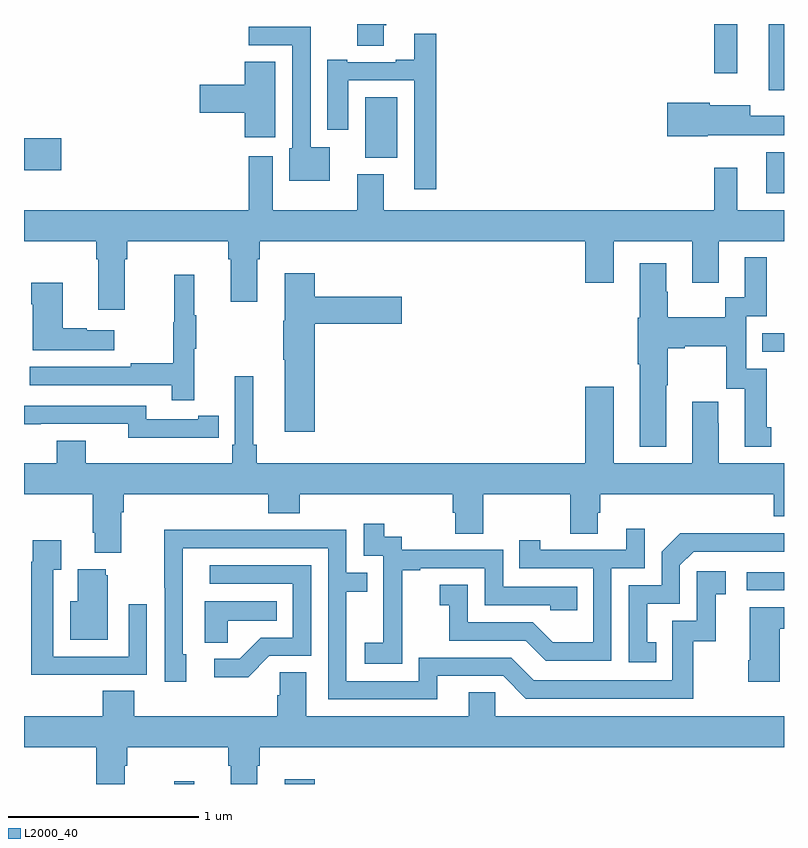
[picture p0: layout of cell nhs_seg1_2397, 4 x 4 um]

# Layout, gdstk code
import gdstk
lib = gdstk.Library(unit=1e-6, precision=1e-09)
def R(c, l, rs):  # rectangles x0, y0, x1, y1
    for r in rs: c.add(gdstk.rectangle(r[:2], r[2:], *l))
def P(c, l, *ps):  # polygons
    for p in ps: c.add(gdstk.Polygon(p, *l))
L2000_40 = (2000, 40)

nhs_seg1_2397 = lib.new_cell('nhs_seg1_2397')
R(nhs_seg1_2397, L2000_40, [(241.792,558.199,241.895,558.214), (242.372,558.199,242.531,558.223), (244.803,559.218,245,559.314), (244.885,560.475,245,560.571), (244.907,561.309,245,561.525), (241,561.429,241.195,561.599), (242.795,561.494,242.965,561.814), (244.919,561.851,245,562.199), (244.632,561.939,244.753,562.199)])
P(nhs_seg1_2397, L2000_40, [(242.893,562.192),(242.906,562.192),(242.906,562.199),(242.753,562.199),(242.753,562.084),(242.893,562.084)],
  [(242.608,561.55),(242.508,561.55),(242.508,562.184),(242.184,562.184),(242.184,562.086),(242.412,562.086),(242.412,561.546),(242.396,561.546),(242.396,561.374),(242.608,561.374)],
  [(243.17,562.147),(243.053,562.147),(243.053,562.012),(242.957,562.012),(242.957,561.999),(242.701,561.999),(242.701,562.012),(242.597,562.012),(242.597,561.642),(242.707,561.642),(242.707,561.903),(243.054,561.903),(243.054,561.33),(243.17,561.33)],
  [(242.323,562.001),(242.162,562.001),(242.162,561.878),(241.926,561.878),(241.926,561.731),(242.162,561.731),(242.162,561.603),(242.323,561.603)],
  [(244.598,561.614),(245,561.614),(245,561.715),(244.822,561.715),(244.822,561.772),(244.608,561.772),(244.608,561.785),(244.386,561.785),(244.386,561.607),(244.598,561.607)],
  [(241.531,560.96),(241.544,560.96),(241.544,561.056),(242.075,561.056),(242.075,560.96),(242.087,560.96),(242.087,560.736),(242.227,560.736),(242.227,560.96),(242.24,560.96),(242.24,561.056),(243.953,561.056),(243.953,560.838),(244.105,560.838),(244.105,561.056),(244.517,561.056),(244.517,560.838),(244.657,560.838),(244.657,561.056),(245,561.056),(245,561.22),(244.753,561.22),(244.753,561.442),(244.632,561.442),(244.632,561.22),(242.893,561.22),(242.893,561.409),(242.753,561.409),(242.753,561.22),(242.308,561.22),(242.308,561.502),(242.183,561.502),(242.183,561.22),(241,561.22),(241,561.056),(241.379,561.056),(241.379,560.96),(241.391,560.96),(241.391,560.694),(241.531,560.694)],
  [(244.381,560.299),(244.389,560.299),(244.389,560.492),(244.477,560.492),(244.477,560.504),(244.697,560.504),(244.697,560.28),(244.793,560.28),(244.793,559.974),(244.933,559.974),(244.933,560.076),(244.909,560.076),(244.909,560.385),(244.8,560.385),(244.8,560.661),(244.909,560.661),(244.909,560.971),(244.793,560.971),(244.793,560.762),(244.692,560.762),(244.692,560.656),(244.389,560.656),(244.389,560.79),(244.381,560.79),(244.381,560.941),(244.241,560.941),(244.241,560.652),(244.229,560.652),(244.229,560.408),(244.241,560.408),(244.241,559.973),(244.381,559.973)],
  [(242.531,560.621),(242.989,560.621),(242.989,560.763),(242.531,560.763),(242.531,560.887),(242.372,560.887),(242.372,560.637),(242.365,560.637),(242.365,560.431),(242.372,560.431),(242.372,560.052),(242.531,560.052)],
  [(241.895,560.491),(241.906,560.491),(241.906,560.665),(241.895,560.665),(241.895,560.878),(241.792,560.878),(241.792,560.628),(241.785,560.628),(241.785,560.414),(241.561,560.414),(241.561,560.394),(241.029,560.394),(241.029,560.298),(241.777,560.298),(241.777,560.22),(241.895,560.22)],
  [(241.474,560.587),(241.331,560.587),(241.331,560.597),(241.204,560.597),(241.204,560.836),(241.039,560.836),(241.039,560.723),(241.046,560.723),(241.046,560.483),(241.474,560.483)],
  [(241.513,559.628),(241.526,559.628),(241.526,559.724),(242.285,559.724),(242.285,559.625),(242.45,559.625),(242.45,559.724),(243.257,559.724),(243.257,559.626),(243.269,559.626),(243.269,559.516),(243.417,559.516),(243.417,559.724),(243.874,559.724),(243.874,559.516),(244.021,559.516),(244.021,559.626),(244.034,559.626),(244.034,559.724),(244.946,559.724),(244.946,559.607),(245,559.607),(245,559.888),(244.657,559.888),(244.657,560.099),(244.654,560.099),(244.654,560.212),(244.517,560.212),(244.517,559.888),(244.105,559.888),(244.105,560.29),(243.953,560.29),(243.953,559.888),(242.225,559.888),(242.225,559.984),(242.206,559.984),(242.206,560.344),(242.109,560.344),(242.109,559.984),(242.096,559.984),(242.096,559.888),(241.324,559.888),(241.324,560.005),(241.172,560.005),(241.172,559.888),(241,559.888),(241,559.724),(241.361,559.724),(241.361,559.522),(241.373,559.522),(241.373,559.415),(241.513,559.415)],
  [(241.916,560.022),(242.024,560.022),(242.024,560.138),(241.916,560.138),(241.916,560.118),(241.644,560.118),(241.644,560.19),(241,560.19),(241,560.093),(241.088,560.093),(241.088,560.094),(241.548,560.094),(241.548,560.021),(241.916,560.021)],
  [(242.991,559.039),(242.99,559.039),(242.99,559.323),(243.085,559.323),(243.085,559.335),(243.426,559.335),(243.426,559.14),(243.771,559.14),(243.771,559.113),(243.911,559.113),(243.911,559.236),(243.522,559.236),(243.522,559.431),(242.988,559.431),(242.988,559.5),(242.896,559.5),(242.896,559.57),(242.787,559.57),(242.787,559.401),(242.892,559.401),(242.892,559.172),(242.891,559.172),(242.891,558.943),(242.793,558.943),(242.793,558.833),(242.991,558.833)],
  [(244.092,559.335),(244.266,559.335),(244.266,559.543),(244.169,559.543),(244.169,559.431),(243.718,559.431),(243.718,559.483),(243.607,559.483),(243.607,559.335),(243.996,559.335),(243.996,558.946),(243.782,558.946),(243.678,559.05),(243.336,559.05),(243.336,559.249),(243.189,559.249),(243.189,559.139),(243.238,559.139),(243.238,558.954),(243.641,558.954),(243.746,558.849),(244.092,558.849)],
  [(243.175,558.768),(243.522,558.768),(243.642,558.648),(244.522,558.648),(244.522,558.951),(244.64,558.951),(244.64,559.197),(244.693,559.197),(244.693,559.318),(244.542,559.318),(244.542,559.059),(244.413,559.059),(244.413,558.744),(243.684,558.744),(243.564,558.864),(243.078,558.864),(243.078,558.741),(242.697,558.741),(242.697,559.21),(242.807,559.21),(242.807,559.311),(242.697,559.311),(242.697,559.536),(242.201,559.536),(242.201,559.538),(241.738,559.538),(241.738,559.231),(241.74,559.231),(241.74,558.738),(241.855,558.738),(241.855,558.882),(241.836,558.882),(241.836,559.44),(242.601,559.44),(242.601,558.645),(243.175,558.645)],
  [(244.328,558.945),(244.279,558.945),(244.279,559.149),(244.452,559.149),(244.452,559.35),(244.524,559.422),(245,559.422),(245,559.518),(244.862,559.518),(244.862,559.52),(244.454,559.52),(244.356,559.422),(244.356,559.245),(244.182,559.245),(244.182,558.84),(244.328,558.84)],
  [(241.331,558.774),(241.647,558.774),(241.647,559.144),(241.551,559.144),(241.551,558.87),(241.155,558.87),(241.155,559.327),(241.195,559.327),(241.195,559.483),(241.047,559.483),(241.047,559.37),(241.039,559.37),(241.039,558.773),(241.331,558.773)],
  [(242.292,558.873),(242.511,558.873),(242.511,559.35),(241.977,559.35),(241.977,559.254),(242.415,559.254),(242.415,558.969),(242.246,558.969),(242.135,558.858),(242.001,558.858),(242.001,558.761),(242.179,558.761)],
  [(241.441,559.299),(241.43,559.299),(241.43,559.33),(241.283,559.33),(241.283,559.162),(241.244,559.162),(241.244,558.959),(241.441,558.959)],
  [(242.073,559.058),(242.33,559.058),(242.33,559.162),(241.952,559.162),(241.952,558.943),(242.073,558.943)],
  [(244.978,559.015),(245,559.015),(245,559.129),(244.82,559.129),(244.82,558.85),(244.813,558.85),(244.813,558.738),(244.978,558.738)],
  [(241.531,558.296),(241.544,558.296),(241.544,558.392),(242.075,558.392),(242.075,558.296),(242.087,558.296),(242.087,558.199),(242.227,558.199),(242.227,558.296),(242.24,558.296),(242.24,558.392),(245,558.392),(245,558.556),(243.48,558.556),(243.48,558.683),(243.341,558.683),(243.341,558.556),(242.485,558.556),(242.485,558.788),(242.346,558.788),(242.346,558.665),(242.333,558.665),(242.333,558.556),(241.58,558.556),(241.58,558.689),(241.415,558.689),(241.415,558.556),(241,558.556),(241,558.392),(241.379,558.392),(241.379,558.199),(241.531,558.199)])

lib.write_gds('nhs_seg1_2397.gds')
